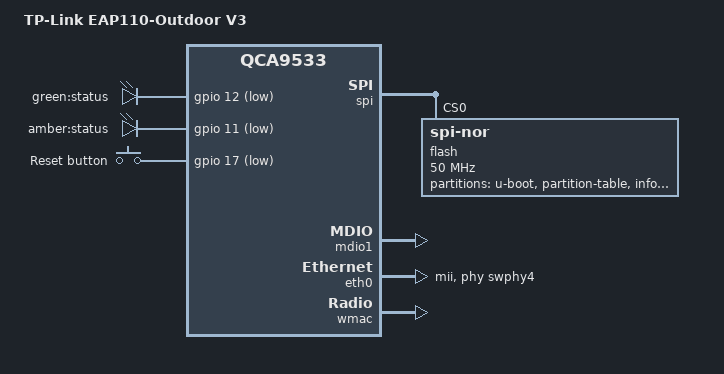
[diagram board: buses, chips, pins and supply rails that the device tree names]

#include "qca953x.dtsi"

#include <dt-bindings/gpio/gpio.h>
#include <dt-bindings/input/input.h>

/ {
	compatible = "tplink,eap110-outdoor-v3", "qca,qca9533";
	model = "TP-Link EAP110-Outdoor V3";

	aliases {
		led-boot = &led_status_green;
		led-failsafe = &led_status_amber;
		led-running = &led_status_green;
		led-upgrade = &led_status_amber;
		label-mac-device = &wmac;
	};

	leds {
		compatible = "gpio-leds";

		led_status_green: status_green {
			label = "green:status";
			gpios = <&gpio 12 GPIO_ACTIVE_LOW>;
			default-state = "on";
		};

		led_status_amber: status_amber {
			label = "amber:status";
			gpios = <&gpio 11 GPIO_ACTIVE_LOW>;
		};
	};

	keys {
		compatible = "gpio-keys";

		reset {
			label = "Reset button";
			linux,code = <KEY_RESTART>;
			gpios = <&gpio 17 GPIO_ACTIVE_LOW>;
			debounce-interval = <60>;
		};
	};
};

&spi {
	status = "okay";

	flash@0 {
		compatible = "jedec,spi-nor";
		reg = <0>;
		spi-max-frequency = <50000000>;

		partitions {
			compatible = "fixed-partitions";
			#address-cells = <1>;
			#size-cells = <1>;

			uboot: partition@0 {
				label = "u-boot";
				reg = <0x000000 0x020000>;
				read-only;
			};

			partition@20000 {
				label = "partition-table";
				reg = <0x200000 0x010000>;
				read-only;
			};

			info: partition@30000 {
				label = "info";
				reg = <0x30000 0x020000>;
				read-only;
			};

			partition@40000 {
				label = "firmware";
				reg = <0x040000 0x600000>;
				compatible = "tplink,firmware";
			};

			partition@7c0000 {
				label = "config";
				reg = <0x7c0000 0x020000>;
				read-only;
			};

			art: partition@7f0000 {
				label = "art";
				reg = <0x7f0000 0x010000>;
				read-only;
			};
		};
	};
};

&mdio1 {
	status = "okay";
};

&eth0 {
	status = "okay";
	phy-handle = <&swphy4>;
	phy-mode = "mii";
	mtd-mac-address = <&art 0x1000>;
};

&eth1 {
	compatible = "syscon", "simple-mfd";
};

&wmac {
	status = "okay";
	mtd-cal-data = <&art 0x1000>;
	mtd-mac-address = <&info 0x8>;
};


